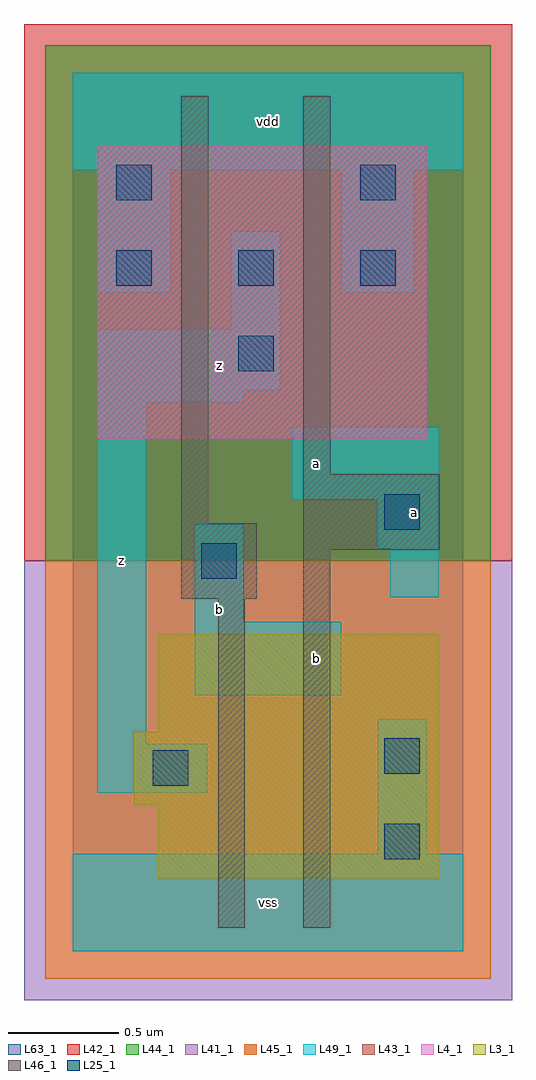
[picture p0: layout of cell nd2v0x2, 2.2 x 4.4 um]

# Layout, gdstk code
import gdstk
lib = gdstk.Library(unit=1e-6, precision=1e-09)
def R(c, l, rs):  # rectangles x0, y0, x1, y1
    for r in rs: c.add(gdstk.rectangle(r[:2], r[2:], *l))
def A(c, l, x, y, w, h, nx, ny, dx, dy):  # array of equal rectangles
    R(c, l, [(x+i*dx, y+j*dy, x+i*dx+w, y+j*dy+h) for i in range(nx) for j in range(ny)])
L3_1 = (3, 1)
L4_1 = (4, 1)
L25_1 = (25, 1)
L41_1 = (41, 1)
L42_1 = (42, 1)
L43_1 = (43, 1)
L44_1 = (44, 1)
L45_1 = (45, 1)
L46_1 = (46, 1)
L49_1 = (49, 1)
L63_1 = (63, 1)

nd2v0x2 = lib.new_cell('nd2v0x2')
R(nd2v0x2, L3_1, [(0.385,0.33,1.65,0.66), (0.275,0.66,1.65,0.99), (0.385,0.99,1.65,1.43)])
R(nd2v0x2, L4_1, [(0.11,2.31,1.595,3.63)])
A(nd2v0x2, L25_1, 0.195, 3, 0.16, 0.16, 3, 1, 0.55, 0)
R(nd2v0x2, L25_1, [(1.405,0.415,1.565,0.575), (0.36,0.745,0.52,0.905), (1.405,0.8,1.565,0.96), (0.58,1.68,0.74,1.84), (1.405,1.9,1.565,2.06), (0.745,2.615,0.905,2.775), (0.195,3.385,0.355,3.545), (1.295,3.385,1.455,3.545)])
R(nd2v0x2, L41_1, [(-0.22,-0.22,1.98,1.76)])
R(nd2v0x2, L42_1, [(-0.22,1.76,1.98,4.18)])
R(nd2v0x2, L43_1, [(0.385,0.33,1.65,0.66), (0.275,0.66,1.65,0.99), (0.385,0.99,1.65,1.43), (0.11,2.31,1.595,3.63)])
R(nd2v0x2, L44_1, [(-0.125,1.76,1.885,4.085)])
R(nd2v0x2, L45_1, [(-0.125,-0.125,1.885,1.76)])
R(nd2v0x2, L46_1, [(0.655,0.105,0.775,1.59), (1.04,0.105,1.16,1.81), (0.49,1.59,0.83,1.93), (1.04,1.81,1.655,2.15), (0.49,1.93,0.61,3.855), (1.04,2.15,1.16,3.855)])
R(nd2v0x2, L49_1, [(0,0,1.76,0.44), (1.375,0.44,1.595,1.045), (0.11,0.715,0.605,0.935), (0.11,0.935,0.33,2.475), (0.55,1.155,1.21,1.485), (0.55,1.485,0.77,1.925), (1.43,1.595,1.65,1.815), (1.375,1.815,1.65,2.035), (0.99,2.035,1.65,2.365), (0.11,2.475,0.77,2.53), (0.11,2.53,0.935,2.805), (0.715,2.805,0.935,3.245), (0.11,2.97,0.44,3.52), (1.21,2.97,1.54,3.52), (0,3.52,1.76,3.96)])
R(nd2v0x2, L63_1, [(0,0,1.76,3.96)])
nd2v0x2.add(gdstk.Label('z', (0.22,1.76), layer=49, texttype=1))
nd2v0x2.add(gdstk.Label('b', (0.66,1.54), layer=49, texttype=1))
nd2v0x2.add(gdstk.Label('z', (0.66,2.64), layer=49, texttype=1))
nd2v0x2.add(gdstk.Label('vss', (0.88,0.22), layer=49, texttype=1))
nd2v0x2.add(gdstk.Label('b', (1.1,1.32), layer=49, texttype=1))
nd2v0x2.add(gdstk.Label('a', (1.1,2.2), layer=49, texttype=1))
nd2v0x2.add(gdstk.Label('vdd', (0.88,3.74), layer=49, texttype=1))
nd2v0x2.add(gdstk.Label('a', (1.54,1.98), layer=49, texttype=1))

lib.write_gds('nd2v0x2.gds')
